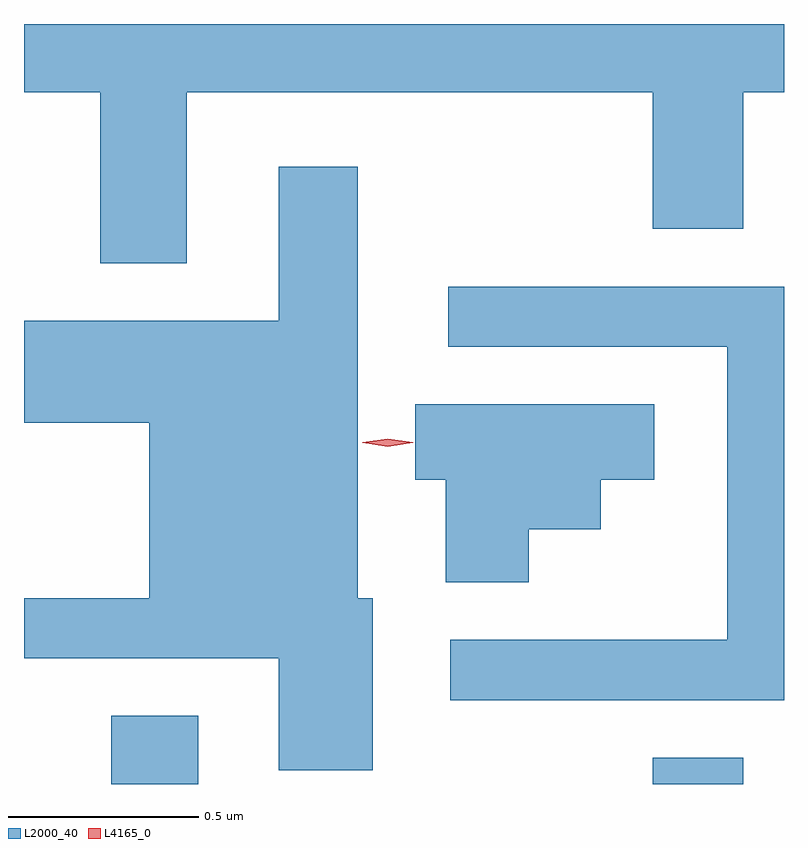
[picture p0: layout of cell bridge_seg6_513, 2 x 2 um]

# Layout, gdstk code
import gdstk
lib = gdstk.Library(unit=1e-6, precision=1e-09)
def R(c, l, rs):  # rectangles x0, y0, x1, y1
    for r in rs: c.add(gdstk.rectangle(r[:2], r[2:], *l))
def P(c, l, *ps):  # polygons
    for p in ps: c.add(gdstk.Polygon(p, *l))
L2000_40 = (2000, 40)
L4165_0 = (4165, 0)

bridge_seg6_513 = lib.new_cell('bridge_seg6_513')
R(bridge_seg6_513, L2000_40, [(742.401,1574.855,742.629,1575.034), (743.826,1574.855,744.064,1574.924)])
P(bridge_seg6_513, L2000_40, [(742.599,1576.676),(743.826,1576.676),(743.826,1576.316),(744.064,1576.316),(744.064,1576.676),(744.171,1576.676),(744.171,1576.855),(742.171,1576.855),(742.171,1576.676),(742.371,1576.676),(742.371,1576.226),(742.599,1576.226)],
  [(743.089,1575.344),(743.049,1575.344),(743.049,1576.479),(742.841,1576.479),(742.841,1576.074),(742.171,1576.074),(742.171,1575.806),(742.501,1575.806),(742.501,1575.344),(742.171,1575.344),(742.171,1575.186),(742.841,1575.186),(742.841,1574.891),(743.089,1574.891)],
  [(744.171,1576.164),(743.288,1576.164),(743.288,1576.006),(744.021,1576.006),(744.021,1575.234),(743.293,1575.234),(743.293,1575.076),(744.171,1575.076)],
  [(743.499,1575.526),(743.689,1575.526),(743.689,1575.656),(743.829,1575.656),(743.829,1575.854),(743.201,1575.854),(743.201,1575.656),(743.281,1575.656),(743.281,1575.386),(743.499,1575.386)])
P(bridge_seg6_513, L4165_0, [(743.128,1575.743),(743.062,1575.753),(743.061,1575.753),(743.062,1575.754),(743.128,1575.763),(743.194,1575.754),(743.195,1575.753),(743.194,1575.753)])

lib.write_gds('bridge_seg6_513.gds')
